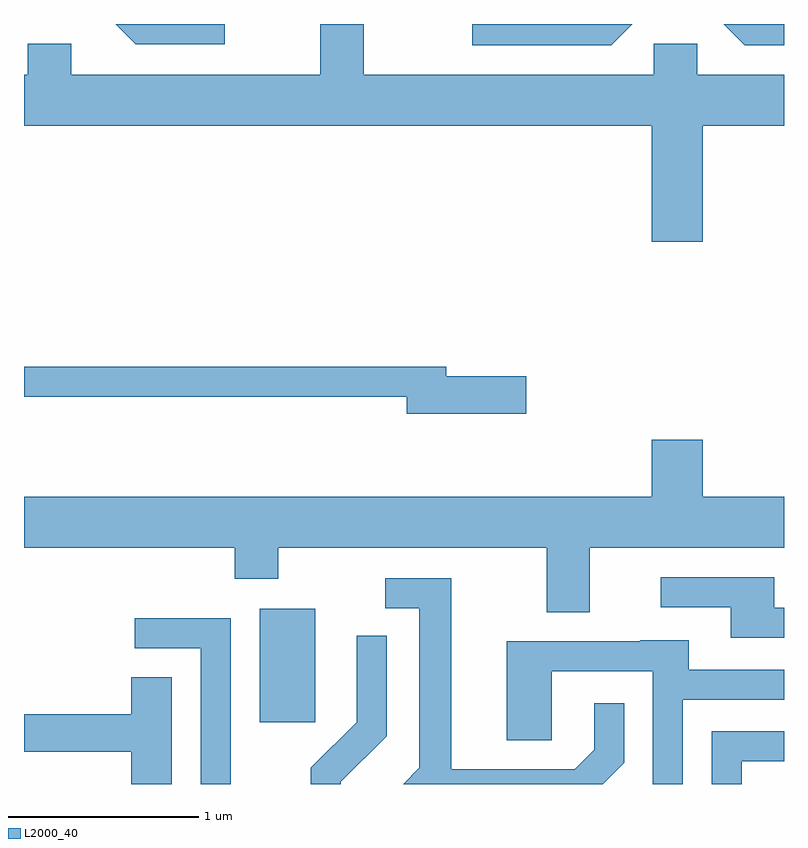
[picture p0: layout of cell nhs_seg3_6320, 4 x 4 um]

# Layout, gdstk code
import gdstk
lib = gdstk.Library(unit=1e-6, precision=1e-09)
def R(c, l, rs):  # rectangles x0, y0, x1, y1
    for r in rs: c.add(gdstk.rectangle(r[:2], r[2:], *l))
def P(c, l, *ps):  # polygons
    for p in ps: c.add(gdstk.Polygon(p, *l))
L2000_40 = (2000, 40)

nhs_seg3_6320 = lib.new_cell('nhs_seg3_6320')
R(nhs_seg3_6320, L2000_40, [(372.851,1116.216,373.144,1116.814)])
P(nhs_seg3_6320, L2000_40, [(374.813,1119.892),(373.971,1119.892),(373.971,1119.781),(374.702,1119.781)],
  [(375.611,1119.892),(375.293,1119.892),(375.404,1119.781),(375.611,1119.781)],
  [(372.668,1119.892),(372.093,1119.892),(372.199,1119.786),(372.668,1119.786)],
  [(375.154,1119.789),(374.926,1119.789),(374.926,1119.624),(373.399,1119.624),(373.399,1119.892),(373.171,1119.892),(373.171,1119.624),(371.859,1119.624),(371.859,1119.789),(371.631,1119.789),(371.631,1119.624),(371.611,1119.624),(371.611,1119.356),(374.916,1119.356),(374.916,1118.746),(375.184,1118.746),(375.184,1119.356),(375.611,1119.356),(375.611,1119.624),(375.154,1119.624)],
  [(374.254,1118.039),(373.834,1118.039),(373.834,1118.089),(371.611,1118.089),(371.611,1117.931),(373.626,1117.931),(373.626,1117.841),(374.254,1117.841)],
  [(374.589,1117.136),(375.611,1117.136),(375.611,1117.404),(375.184,1117.404),(375.184,1117.704),(374.916,1117.704),(374.916,1117.404),(371.611,1117.404),(371.611,1117.136),(372.721,1117.136),(372.721,1116.971),(372.949,1116.971),(372.949,1117.136),(374.361,1117.136),(374.361,1116.796),(374.589,1116.796)],
  [(375.611,1116.819),(375.559,1116.819),(375.559,1116.979),(374.963,1116.979),(374.963,1116.821),(375.331,1116.821),(375.331,1116.661),(375.611,1116.661)],
  [(374.769,1116.004),(374.769,1116.318),(374.611,1116.318),(374.611,1116.072),(374.509,1115.969),(373.859,1115.969),(373.859,1116.974),(373.513,1116.974),(373.513,1116.816),(373.691,1116.816),(373.691,1115.977),(373.607,1115.892),(374.658,1115.892)],
  [(372.699,1116.764),(372.193,1116.764),(372.193,1116.606),(372.541,1116.606),(372.541,1115.892),(372.699,1115.892)],
  [(373.279,1115.904),(373.519,1116.144),(373.519,1116.673),(373.361,1116.673),(373.361,1116.217),(373.121,1115.977),(373.121,1115.892),(373.279,1115.892)],
  [(375.079,1116.336),(375.611,1116.336),(375.611,1116.494),(375.109,1116.494),(375.109,1116.649),(374.855,1116.649),(374.855,1116.644),(374.151,1116.644),(374.151,1116.121),(374.389,1116.121),(374.389,1116.486),(374.921,1116.486),(374.921,1115.892),(375.079,1115.892)],
  [(372.389,1116.454),(372.176,1116.454),(372.176,1116.259),(371.611,1116.259),(371.611,1116.061),(372.176,1116.061),(372.176,1115.892),(372.389,1115.892)],
  [(375.389,1116.011),(375.611,1116.011),(375.611,1116.169),(375.231,1116.169),(375.231,1115.892),(375.389,1115.892)])

lib.write_gds('nhs_seg3_6320.gds')
